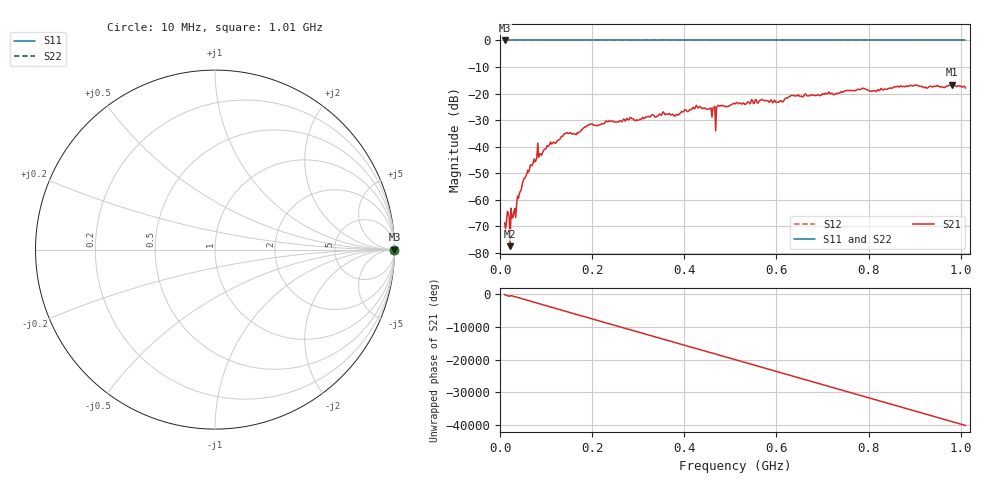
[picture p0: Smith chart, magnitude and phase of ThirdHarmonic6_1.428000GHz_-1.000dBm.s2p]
! 8/16/2025 4:27:26 PM
! C:\ANRITSUVNA\TEMP\TEMP.S2P
! CHANNEL.1
! TR.MEASUREMENT
! RAW.DATA
! RF.CORRECTION.OFF
! AVERAGING.OFF
! IF.BANDWIDTH: 5KHZ
! SWEEPTYPE:  FREQ.SWEEP(Linear)
! Reference Plane Port Info
! PORT:  PORT1  PORT2
! DISTANCE:  0  m  0  m
! TIME:  0  s  0  s
! PHASE.OFFSET:  0  deg.  0  deg.
! LOSS:  0  dB  0  dB
! REF.LOSS:  0  dB  0  dB
! REF.FREQ:  0  Hz  0  Hz
! Power Info
! POWER:  -20  dBm  -20  dBm
! EFF.POWER:  -20  dBm  -20  dBm
! SOURCE.ATTEN:  0  dB  0  dB
! TEST.ATTEN:  0  dB  0  dB
# GHZ S RI R 50.0
! FREQ.GHZ  S11RE  S11IM  S21RE  S21IM  S12RE  S12IM  S22RE  S22IM
!; PortSelection: Port_12
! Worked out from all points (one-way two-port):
!   501 points, 10 MHz to 1.01 GHz, reference 50 ohm
!   highest |S21| = -16.66 dB at 980 MHz (marker M1); lowest = -77.5 dB at 22 MHz (marker M2)
!   lowest |S11| = 0.0 dB at 10 MHz (marker M3)
!   |S11| at or under -10 dB: nowhere
!   |S22| runs from 0.0 to 0.0 dB; largest |S21 - S12| = 1.1
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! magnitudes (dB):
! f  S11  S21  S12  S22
! 10 MHz  0.0  -68.8  0.0  0.0
! 16 MHz  0.0  -64.5  0.0  0.0
! 22 MHz  0.0  -77.5  0.0  0.0
! 26 MHz  0.0  -67.0  0.0  0.0
! 28 MHz  0.0  -66.7  0.0  0.0
! 32 MHz  0.0  -63.4  0.0  0.0
! 52 MHz  0.0  -52.0  0.0  0.0
! 78 MHz  0.0  -45.3  0.0  0.0
! 142 MHz  0.0  -35.2  0.0  0.0
! 178 MHz  0.0  -33.6  0.0  0.0
! 196 MHz  0.0  -31.6  0.0  0.0
! 344 MHz  0.0  -28.3  0.0  0.0
! 382 MHz  0.0  -28.0  0.0  0.0
! 430 MHz  0.0  -25.5  0.0  0.0
! 462 MHz  0.0  -25.6  0.0  0.0
! 464 MHz  0.0  -25.2  0.0  0.0
! 474 MHz  0.0  -24.4  0.0  0.0
! 510 MHz  0.0  -23.9  0.0  0.0
! 678 MHz  0.0  -20.7  0.0  0.0
! 844 MHz  0.0  -18.0  0.0  0.0
! 980 MHz  0.0  -16.7  0.0  0.0
! 1.01 GHz  0.0  -17.9  0.0  0.0
